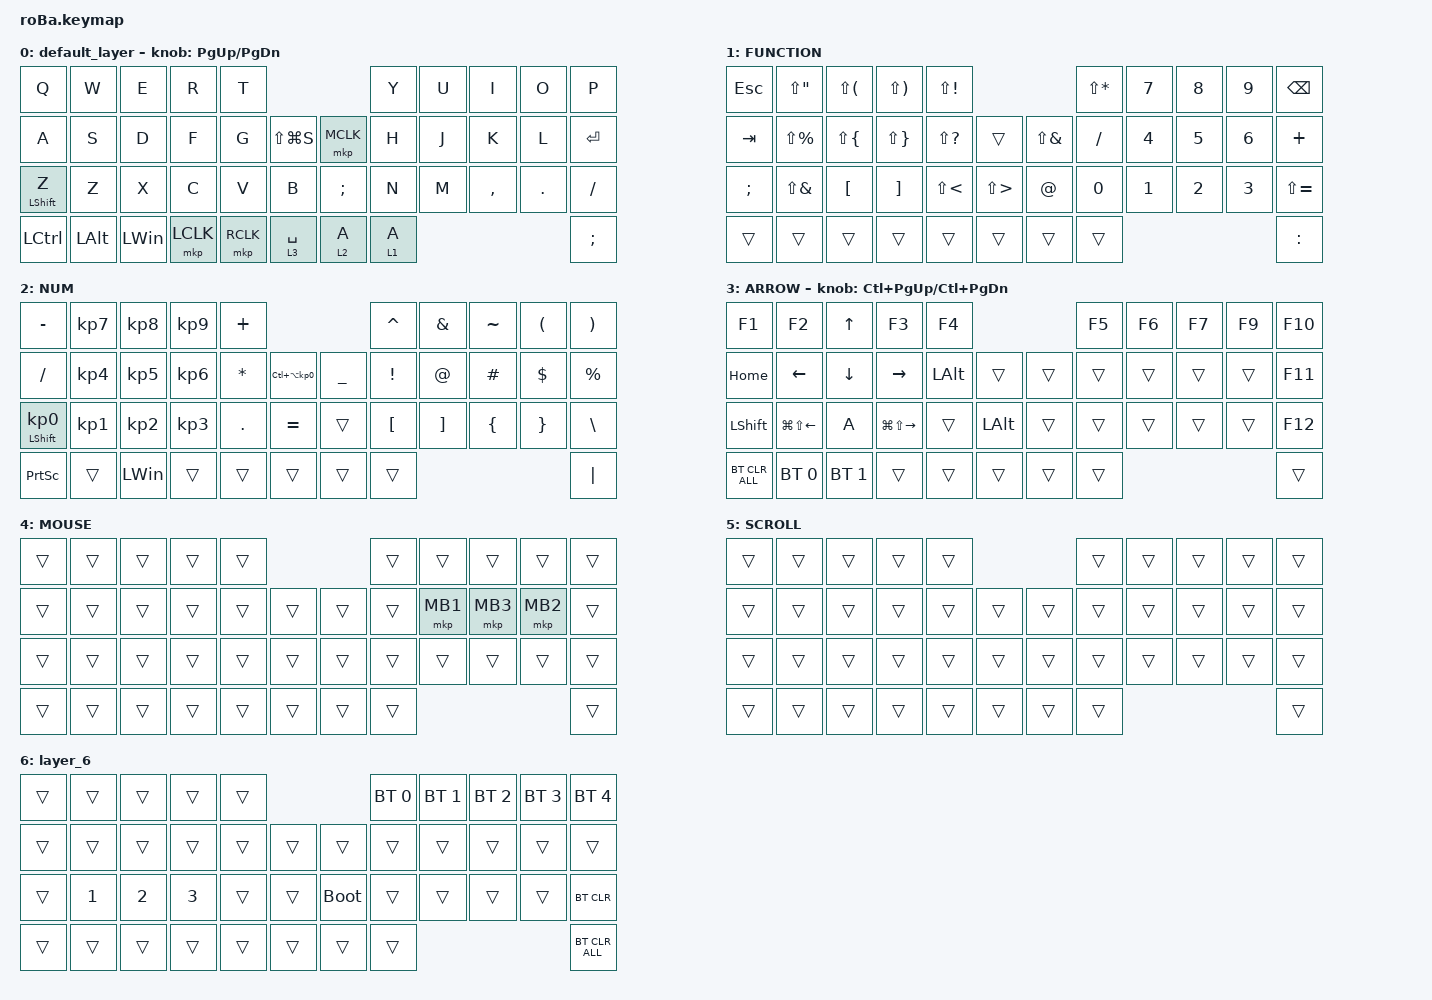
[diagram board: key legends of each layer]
#include <behaviors.dtsi>
#include <dt-bindings/zmk/bt.h>
#include <dt-bindings/zmk/keys.h>
#include <dt-bindings/zmk/pointing.h>

&mt {
    flavor = "balanced";
    quick-tap-ms = <0>;
};

&trackball {
    automouse-layer = <4>;
    scroll-layers = <5>;

    // arrows {
    //     layers = <3>;
    //     bindings =
    //         <&kp RIGHT_ARROW>,
    //         <&kp LEFT_ARROW>,
    //         <&kp UP_ARROW>,
    //         <&kp DOWN_ARROW>;
    //     tick = <10>;
    //     wait-ms = <5>;
    //     tap-ms = <5>;
    // };
};

/ {
    combos {
        compatible = "zmk,combos";

        tab {
            bindings = <&kp TAB>;
            key-positions = <11 12>;
        };

        shift_tab {
            bindings = <&kp LS(TAB)>;
            key-positions = <12 13>;
        };

        muhennkann {
            bindings = <&to_layer_0 INT_MUHENKAN>;
            key-positions = <11 10>;
        };

        double_quotation {
            bindings = <&kp DOUBLE_QUOTES>;
            key-positions = <20 21>;
        };

        eq {
            bindings = <&kp EQUAL>;
            key-positions = <24 25>;
        };
    };

    macros {
        to_layer_0: to_layer_0 {
            compatible = "zmk,behavior-macro-one-param";
            #binding-cells = <1>;
            bindings = <&to 0 &macro_param_1to1 &kp MACRO_PLACEHOLDER>;
            label = "TO_LAYER_0";
        };
    };

    behaviors {
        lt_to_layer_0: lt_to_layer_0 {
            compatible = "zmk,behavior-hold-tap";
            label = "LAYER_TAP_TO_0";
            bindings = <&mo>, <&to_layer_0>;

            #binding-cells = <2>;
            tapping-term-ms = <200>;
        };
    };

    keymap {
        compatible = "zmk,keymap";

        default_layer {
            bindings = <
&kp Q             &kp W         &kp E         &kp R      &kp T                                        &kp Y    &kp U  &kp I      &kp O    &kp P
&kp A             &kp S         &kp D         &kp F      &kp G      &kp LS(LG(S))      &mkp MCLK      &kp H    &kp J  &kp K      &kp L    &kp ENTER
&mt LEFT_SHIFT Z  &kp Z         &kp X         &kp C      &kp V      &kp B              &kp SEMICOLON  &kp N    &kp M  &kp COMMA  &kp DOT  &kp SLASH
&kp LCTRL         &kp LEFT_ALT  &kp LEFT_WIN  &mkp LCLK  &mkp RCLK  &lt 3 SPACE        &lt 2 A        &lt 1 A                             &kp SEMICOLON
            >;

            sensor-bindings = <&inc_dec_kp PG_UP PAGE_DOWN>;
        };

        FUNCTION {
            bindings = <
&kp ESC   &kp LS(DQT)    &kp LS(LPAR)  &kp LS(RPAR)  &kp LS(EXCL)                                 &kp LS(STAR)  &kp N7  &kp N8  &kp N9  &kp BSPC
&kp TAB   &kp LS(PRCNT)  &kp LS(LBRC)  &kp LS(RBRC)  &kp LS(QMARK)  &trans          &kp LS(AMPS)  &kp FSLH      &kp N4  &kp N5  &kp N6  &kp PLUS
&kp SEMI  &kp LS(AMPS)   &kp LBKT      &kp RBKT      &kp LS(LT)     &kp LS(GT)      &kp AT        &kp N0        &kp N1  &kp N2  &kp N3  &kp LS(EQUAL)
&trans    &trans         &trans        &trans        &trans         &trans          &trans        &trans                                &kp COLON
            >;
        };

        NUM {
            bindings = <
&kp MINUS                   &kp KP_NUMBER_7  &kp KP_NUMBER_8  &kp KP_NUMBER_9  &kp PLUS                                                   &kp CARET         &kp AMPERSAND      &kp TILDE       &kp LEFT_PARENTHESIS  &kp RIGHT_PARENTHESIS
&kp SLASH                   &kp KP_NUMBER_4  &kp KP_NUMBER_5  &kp KP_NUMBER_6  &kp ASTERISK  &kp LC(LA(KP_NUMBER_0))      &kp UNDERSCORE  &kp EXCLAMATION   &kp AT_SIGN        &kp HASH        &kp DOLLAR            &kp PERCENT
&mt LEFT_SHIFT KP_NUMBER_0  &kp KP_NUMBER_1  &kp KP_NUMBER_2  &kp KP_NUMBER_3  &kp PERIOD    &kp EQUAL                    &trans          &kp LEFT_BRACKET  &kp RIGHT_BRACKET  &kp LEFT_BRACE  &kp RIGHT_BRACE       &kp BACKSLASH
&kp PRINTSCREEN             &trans           &kp LEFT_WIN     &trans           &trans        &trans                       &trans          &trans                                                                     &kp PIPE
            >;
        };

        ARROW {
            bindings = <
&kp F1          &kp F2                  &kp UP_ARROW    &kp F3                   &kp F4                                  &kp F5  &kp F6  &kp F7  &kp F9  &kp F10
&kp HOME        &kp LEFT_ARROW          &kp DOWN_ARROW  &kp RIGHT_ARROW          &kp LEFT_ALT  &trans            &trans  &trans  &trans  &trans  &trans  &kp F11
&kp LEFT_SHIFT  &kp LG(LS(LEFT_ARROW))  &kp A           &kp LG(LS(RIGHT_ARROW))  &trans        &kp LEFT_ALT      &trans  &trans  &trans  &trans  &trans  &kp F12
&bt BT_CLR_ALL  &bt BT_SEL 0            &bt BT_SEL 1    &trans                   &trans        &trans            &trans  &trans                          &trans
            >;

            sensor-bindings = <&inc_dec_kp LC(PAGE_UP) LC(PAGE_DOWN)>;
        };

        MOUSE {
            bindings = <
&trans  &trans  &trans  &trans  &trans                      &trans  &trans    &trans    &trans    &trans
&trans  &trans  &trans  &trans  &trans  &trans      &trans  &trans  &mkp MB1  &mkp MB3  &mkp MB2  &trans
&trans  &trans  &trans  &trans  &trans  &trans      &trans  &trans  &trans    &trans    &trans    &trans
&trans  &trans  &trans  &trans  &trans  &trans      &trans  &trans                                &trans
            >;
        };

        SCROLL {
            bindings = <
&trans  &trans  &trans  &trans  &trans                      &trans  &trans  &trans  &trans  &trans
&trans  &trans  &trans  &trans  &trans  &trans      &trans  &trans  &trans  &trans  &trans  &trans
&trans  &trans  &trans  &trans  &trans  &trans      &trans  &trans  &trans  &trans  &trans  &trans
&trans  &trans  &trans  &trans  &trans  &trans      &trans  &trans                          &trans
            >;
        };

        layer_6 {
            bindings = <
&trans  &trans        &trans        &trans        &trans                           &bt BT_SEL 0  &bt BT_SEL 1  &bt BT_SEL 2  &bt BT_SEL 3  &bt BT_SEL 4
&trans  &trans        &trans        &trans        &trans  &trans      &trans       &trans        &trans        &trans        &trans        &trans
&trans  &kp NUMBER_1  &kp NUMBER_2  &kp NUMBER_3  &trans  &trans      &bootloader  &trans        &trans        &trans        &trans        &bt BT_CLR
&trans  &trans        &trans        &trans        &trans  &trans      &trans       &trans                                                  &bt BT_CLR_ALL
            >;
        };
    };
};
